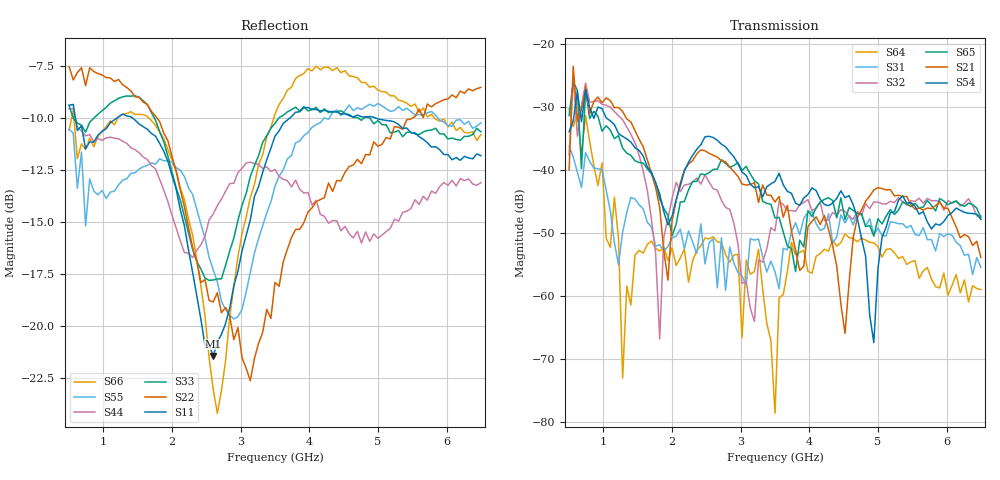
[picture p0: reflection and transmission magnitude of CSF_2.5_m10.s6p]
!Keysight Technologies,M9804A,MY58100912,A.14.10.03
!Date: Thursday, April 27, 2023 10:28:33
!Correction: S11(C  6-Port  )
!S12(C  6-Port  )
!S13(C  6-Port  )
!S14(C  6-Port  )
!S15(C  6-Port  )
!S16(C  6-Port  )
!S21(C  6-Port  )
!S22(C  6-Port  )
!S23(C  6-Port  )
!S24(C  6-Port  )
!S25(C  6-Port  )
!S26(C  6-Port  )
!S31(C  6-Port  )
!S32(C  6-Port  )
!S33(C  6-Port  )
!S34(C  6-Port  )
!S35(C  6-Port  )
!S36(C  6-Port  )
!S41(C  6-Port  )
!S42(C  6-Port  )
!S43(C  6-Port  )
!S44(C  6-Port  )
!S45(C  6-Port  )
!S46(C  6-Port  )
!S51(C  6-Port  )
!S52(C  6-Port  )
!S53(C  6-Port  )
!S54(C  6-Port  )
!S55(C  6-Port  )
!S56(C  6-Port  )
!S61(C  6-Port  )
!S62(C  6-Port  )
!S63(C  6-Port  )
!S64(C  6-Port  )
!S65(C  6-Port  )
!S66(C  6-Port  )
!S6P File: Measurement: :
# Hz S  RI  R 50
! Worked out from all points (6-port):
!   101 points, 500 MHz to 6.5 GHz, reference 50 ohm
!   strongest paths, dB at 500 MHz, 2 GHz, 3.5 GHz, 5 GHz, 6.5 GHz:
!     S54: -33.9, -47.3, -41.8, -55.6, -47.8
!     S21: -39.9, -48.0, -45.0, -42.8, -53.9
!     S65: -31.3, -50.4, -47.6, -47.7, -47.5
!     S32: -37.6, -44.5, -49.6, -45.1, -47.2
!     S31: -36.2, -50.7, -56.1, -49.2, -55.4
!     S64: -30.3, -52.3, -78.6, -52.1, -59.0
!   lowest |S11| = -21.4 dB at 2.6 GHz (marker M1), VSWR 1.19, Z = 42.5 + j2.15 ohm
!   |S11| at or under -10 dB: 591.7 MHz to 1.191 GHz (599.7 MHz wide, 67.3 % of centre); 1.426 GHz to 3.712 GHz (2.286 GHz wide, 89 % of centre); 4.974 GHz to end of sweep
